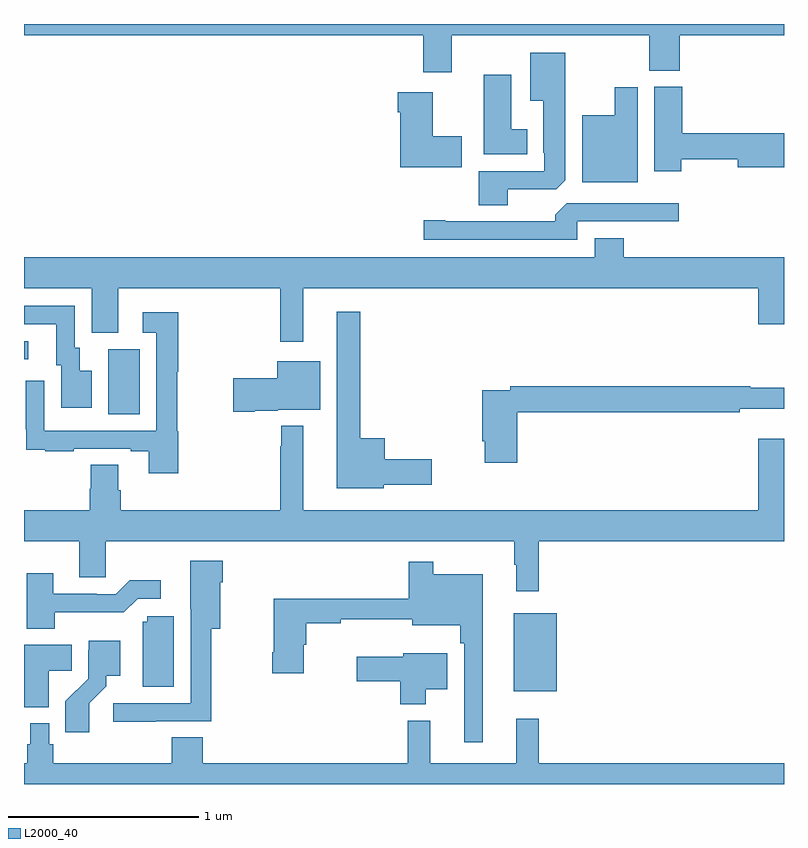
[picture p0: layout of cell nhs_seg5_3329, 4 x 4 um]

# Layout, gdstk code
import gdstk
lib = gdstk.Library(unit=1e-6, precision=1e-09)
def R(c, l, rs):  # rectangles x0, y0, x1, y1
    for r in rs: c.add(gdstk.rectangle(r[:2], r[2:], *l))
def P(c, l, *ps):  # polygons
    for p in ps: c.add(gdstk.Polygon(p, *l))
L2000_40 = (2000, 40)

nhs_seg5_3329 = lib.new_cell('nhs_seg5_3329')
R(nhs_seg5_3329, L2000_40, [(307.577,873.287,307.804,873.697), (305.444,874.744,305.608,875.088), (305,875.034,305.023,875.13)])
P(nhs_seg5_3329, L2000_40, [(307.252,876.74),(308.29,876.74),(308.29,876.553),(308.45,876.553),(308.45,876.74),(309,876.74),(309,876.799),(305,876.799),(305,876.74),(307.1,876.74),(307.1,876.546),(307.252,876.546)],
  [(307.546,875.928),(307.8,875.928),(307.849,875.977),(307.849,876.649),(307.664,876.649),(307.664,876.395),(307.733,876.395),(307.733,876.121),(307.737,876.121),(307.737,876.024),(307.394,876.024),(307.394,875.845),(307.546,875.845)],
  [(307.648,876.244),(307.564,876.244),(307.564,876.532),(307.421,876.532),(307.421,876.113),(307.648,876.113)],
  [(308.46,876.088),(308.756,876.088),(308.756,876.046),(309,876.046),(309,876.224),(308.465,876.224),(308.465,876.468),(308.318,876.468),(308.318,876.024),(308.46,876.024)],
  [(308.23,876.466),(308.108,876.466),(308.108,876.319),(307.937,876.319),(307.937,875.966),(308.23,875.966)],
  [(307.303,876.207),(307.15,876.207),(307.15,876.439),(306.968,876.439),(306.968,876.335),(306.98,876.335),(306.98,876.044),(307.303,876.044)],
  [(307.911,875.76),(308.446,875.76),(308.446,875.856),(307.857,875.856),(307.796,875.794),(307.796,875.76),(307.216,875.76),(307.216,875.765),(307.104,875.765),(307.104,875.664),(307.911,875.664)],
  [(306.469,875.408),(308.864,875.408),(308.864,875.22),(309,875.22),(309,875.572),(308.156,875.572),(308.156,875.671),(308.003,875.671),(308.003,875.572),(305,875.572),(305,875.408),(305.357,875.408),(305.357,875.173),(305.497,875.173),(305.497,875.408),(306.348,875.408),(306.348,875.127),(306.469,875.127)],
  [(305.356,874.975),(305.293,874.975),(305.293,875.094),(305.268,875.094),(305.268,875.316),(305,875.316),(305,875.22),(305.171,875.22),(305.171,875.004),(305.195,875.004),(305.195,874.779),(305.356,874.779)],
  [(306.894,874.373),(307.147,874.373),(307.147,874.508),(306.898,874.508),(306.898,874.618),(306.769,874.618),(306.769,875.284),(306.647,875.284),(306.647,874.355),(306.894,874.355)],
  [(305.813,874.656),(305.806,874.656),(305.806,874.968),(305.813,874.968),(305.813,875.281),(305.625,875.281),(305.625,875.175),(305.697,875.175),(305.697,874.659),(305.106,874.659),(305.106,874.921),(305.01,874.921),(305.01,874.666),(305.011,874.666),(305.011,874.557),(305.113,874.557),(305.113,874.551),(305.261,874.551),(305.261,874.563),(305.561,874.563),(305.561,874.551),(305.657,874.551),(305.657,874.434),(305.813,874.434)],
  [(306.214,874.763),(306.336,874.763),(306.336,874.769),(306.559,874.769),(306.559,875.023),(306.332,875.023),(306.332,874.935),(306.102,874.935),(306.102,874.757),(306.214,874.757)],
  [(307.595,874.756),(308.768,874.756),(308.768,874.775),(309,874.775),(309,874.885),(308.822,874.885),(308.822,874.892),(307.558,874.892),(307.558,874.872),(307.412,874.872),(307.412,874.603),(307.424,874.603),(307.424,874.491),(307.595,874.491)],
  [(307.709,874.076),(309,874.076),(309,874.615),(308.864,874.615),(308.864,874.24),(306.469,874.24),(306.469,874.684),(306.355,874.684),(306.355,874.577),(306.348,874.577),(306.348,874.24),(305.51,874.24),(305.51,874.346),(305.497,874.346),(305.497,874.478),(305.35,874.478),(305.35,874.353),(305.345,874.353),(305.345,874.24),(305,874.24),(305,874.076),(305.291,874.076),(305.291,873.886),(305.43,873.886),(305.43,874.076),(307.581,874.076),(307.581,873.953),(307.592,873.953),(307.592,873.813),(307.709,873.813)],
  [(305.693,873.129),(305.986,873.129),(305.986,873.617),(306.034,873.617),(306.034,873.86),(306.047,873.86),(306.047,873.973),(305.876,873.973),(305.876,873.721),(305.877,873.721),(305.877,873.225),(305.469,873.225),(305.469,873.127),(305.693,873.127)],
  [(307.414,873.904),(307.153,873.904),(307.153,873.97),(307.024,873.97),(307.024,873.775),(306.314,873.775),(306.314,873.493),(306.307,873.493),(306.307,873.381),(306.472,873.381),(306.472,873.531),(306.485,873.531),(306.485,873.646),(306.668,873.646),(306.668,873.665),(307.043,873.665),(307.043,873.635),(307.297,873.635),(307.297,873.539),(307.317,873.539),(307.317,873.018),(307.414,873.018)],
  [(305.163,873.702),(305.525,873.702),(305.598,873.774),(305.719,873.774),(305.719,873.871),(305.557,873.871),(305.484,873.798),(305.384,873.798),(305.384,873.801),(305.155,873.801),(305.155,873.907),(305.015,873.907),(305.015,873.617),(305.163,873.617)],
  [(305.788,873.681),(305.649,873.681),(305.649,873.654),(305.624,873.654),(305.624,873.31),(305.788,873.31)],
  [(305.344,873.223),(305.434,873.313),(305.434,873.368),(305.506,873.368),(305.506,873.553),(305.342,873.553),(305.342,873.504),(305.337,873.504),(305.337,873.353),(305.218,873.234),(305.218,873.072),(305.344,873.072)],
  [(305.131,873.394),(305.252,873.394),(305.252,873.532),(305,873.532),(305,873.203),(305.131,873.203)],
  [(307.114,873.299),(307.228,873.299),(307.228,873.487),(306.996,873.487),(306.996,873.469),(306.75,873.469),(306.75,873.34),(306.98,873.34),(306.98,873.218),(307.114,873.218)],
  [(309,872.908),(307.709,872.908),(307.709,873.142),(307.592,873.142),(307.592,872.908),(307.139,872.908),(307.139,873.133),(307.021,873.133),(307.021,872.908),(305.942,872.908),(305.942,873.044),(305.777,873.044),(305.777,872.908),(305.153,872.908),(305.153,873.009),(305.133,873.009),(305.133,873.118),(305.032,873.118),(305.032,873.009),(305.017,873.009),(305.017,872.908),(305,872.908),(305,872.799),(309,872.799)])

lib.write_gds('nhs_seg5_3329.gds')
